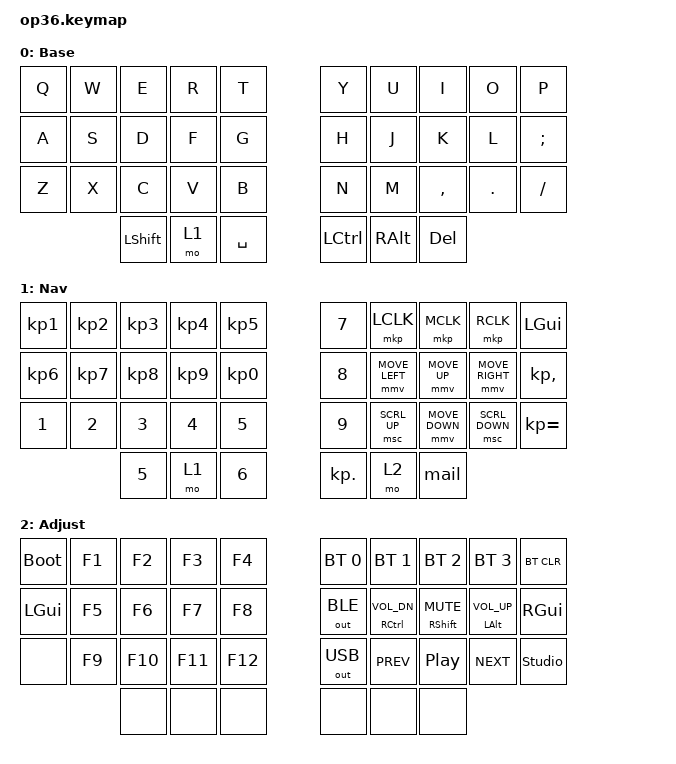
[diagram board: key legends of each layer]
#include <behaviors.dtsi>
#include <dt-bindings/zmk/bt.h>
#include <dt-bindings/zmk/keys.h>
#include <dt-bindings/zmk/outputs.h>
#include <dt-bindings/zmk/pointing.h>

#define HOST_OS 1

#include "zmk-helpers/helper.h"
#include "zmk-helpers/unicode-chars/german.dtsi"

&mt {
    quick-tap-ms = <200>;
    flavor = "tap-preferred";
    require-prior-idle-ms = <125>;
};

/ {
    behaviors {
        hml: home_row_mod_left {
            compatible = "zmk,behavior-hold-tap";
            #binding-cells = <2>;
            flavor = "balanced";
            require-prior-idle-ms = <150>;
            tapping-term-ms = <280>;
            quick-tap-ms = <175>;
            bindings = <&kp>, <&kp>;

            hold-trigger-key-positions = <5 6 7 8 9 15 16 17 18 19 25 26 27 28 29 33 34 35>;
            hold-trigger-on-release;
        };

        hmr: home_row_mod_right {
            compatible = "zmk,behavior-hold-tap";
            #binding-cells = <2>;
            flavor = "balanced";
            require-prior-idle-ms = <150>;
            tapping-term-ms = <280>;
            quick-tap-ms = <175>;
            bindings = <&kp>, <&kp>;

            hold-trigger-key-positions = <0 1 2 3 4 10 11 12 13 14 20 21 22 23 24 30 31 32>;
            hold-trigger-on-release;
        };
    };

    macros {
        mail: mail {
            compatible = "zmk,behavior-macro";
            #binding-cells = <0>;
            bindings = <&kp M &kp A &kp R &kp G &kp A &kp R &kp E &kp T &kp DOT &kp O &kp R &kp O &kp B &kp E &kp T &kp S &kp AT &kp G &kp M &kp A &kp I &kp L &kp DOT &kp C &kp O &kp M>;
            label = "MAIL";
        };
    };

    keymap {
        compatible = "zmk,keymap";

        base {
            bindings = <
  &kp Q  &kp W  &kp E  &kp R           &kp T                                 &kp Y          &kp U       &kp I      &kp O       &kp P
  &kp A  &kp S  &kp D  &kp F           &kp G                                 &kp H          &kp J       &kp K      &kp L       &kp SEMICOLON
  &kp Z  &kp X  &kp C  &kp V           &kp B                                 &kp N          &kp M       &kp COMMA  &kp PERIOD  &kp SLASH
                       &kp LEFT_SHIFT  &mo 1  &kp SPACE    &kp LEFT_CONTROL  &kp RIGHT_ALT  &kp DELETE
            >;

            display-name = "Base";
        };

        nav {
            bindings = <
  &kp KP_NUMBER_1  &kp KP_NUMBER_2  &kp KP_NUMBER_3  &kp KP_NUMBER_4  &kp KP_NUMBER_5                              &kp NUMBER_7  &mkp LCLK       &mkp MCLK       &mkp RCLK        &kp LEFT_GUI
  &kp KP_NUMBER_6  &kp KP_NUMBER_7  &kp KP_NUMBER_8  &kp KP_NUMBER_9  &kp KP_N0                                    &kp NUMBER_8  &mmv MOVE_LEFT  &mmv MOVE_UP    &mmv MOVE_RIGHT  &kp KP_COMMA
  &kp NUMBER_1     &kp NUMBER_2     &kp NUMBER_3     &kp NUMBER_4     &kp NUMBER_5                                 &kp NUMBER_9  &msc SCRL_UP    &mmv MOVE_DOWN  &msc SCRL_DOWN   &kp KP_EQUAL
                                                     &kp NUMBER_5     &mo 1            &kp NUMBER_6    &kp KP_DOT  &mo 2         &mail
            >;

            display-name = "Nav";
        };

        adj {
            bindings = <
  &bootloader  &kp F1  &kp F2   &kp F3   &kp F4                   &bt BT_SEL 0  &bt BT_SEL 1         &bt BT_SEL 2       &bt BT_SEL 3        &bt BT_CLR
  &kp LGUI     &kp F5  &kp F6   &kp F7   &kp F8                   &out OUT_BLE  &hmr RCTRL C_VOL_DN  &hmr RSHFT C_MUTE  &hmr LALT C_VOL_UP  &kp RGUI
  &none        &kp F9  &kp F10  &kp F11  &kp F12                  &out OUT_USB  &kp C_PREV           &kp C_PP           &kp C_NEXT          &studio_unlock
                                &none    &none    &none    &none  &none         &none
            >;

            display-name = "Adjust";
        };
    };
};
